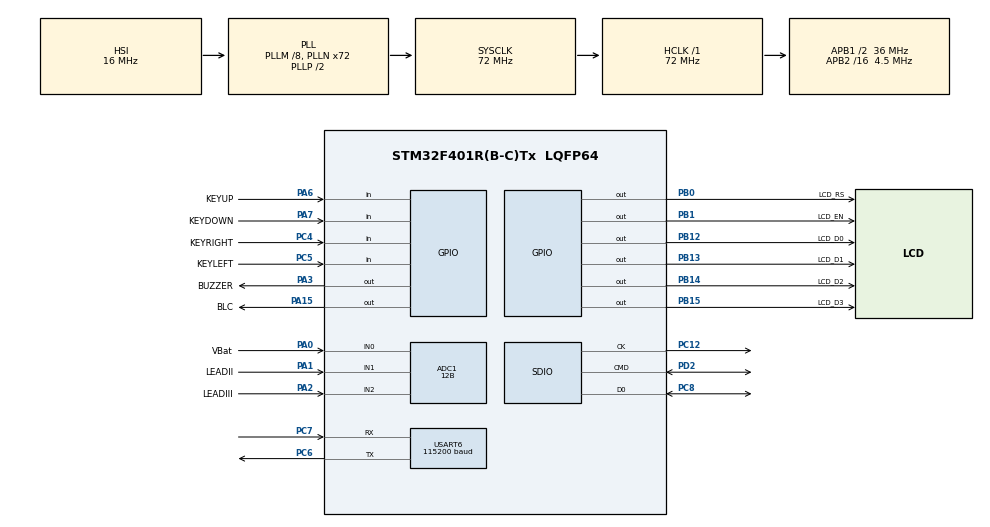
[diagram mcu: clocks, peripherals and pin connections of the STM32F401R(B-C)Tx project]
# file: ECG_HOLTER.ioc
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ADC1.Channel-0\#ChannelRegularConversion=ADC_CHANNEL_1
ADC1.Channel-4\#ChannelInjectedConversion=ADC_CHANNEL_0
ADC1.ClockPrescaler=ADC_CLOCK_SYNC_PCLK_DIV6
ADC1.ContinuousConvMode=ENABLE
ADC1.DMAContinuousRequests=ENABLE
ADC1.DataAlign=ADC_DATAALIGN_RIGHT
ADC1.DiscontinuousConvMode=DISABLE
ADC1.EOCSelection=ADC_EOC_SINGLE_CONV
ADC1.EnableAnalogWatchDog=false
ADC1.ExternalTrigConv=ADC_SOFTWARE_START
ADC1.ExternalTrigConvEdge=ADC_EXTERNALTRIGCONVEDGE_NONE
ADC1.ExternalTrigInjecConv=ADC_INJECTED_SOFTWARE_START
ADC1.ExternalTrigInjecConvEdge=ADC_EXTERNALTRIGINJECCONVEDGE_NONE
ADC1.InjNumberOfConversion=1
ADC1.InjectedConvMode=None
ADC1.InjectedOffset-4\#ChannelInjectedConversion=0
ADC1.NbrOfConversion=1
ADC1.NbrOfConversionFlag=1
ADC1.Rank-0\#ChannelRegularConversion=1
ADC1.Rank-4\#ChannelInjectedConversion=1
ADC1.Resolution=ADC_RESOLUTION_12B
ADC1.SamplingTime-0\#ChannelRegularConversion=ADC_SAMPLETIME_480CYCLES
ADC1.SamplingTime-4\#ChannelInjectedConversion=ADC_SAMPLETIME_3CYCLES
ADC1.ScanConvMode=ENABLE
ADC1.master=1
Dma.ADC1.0.Direction=DMA_PERIPH_TO_MEMORY
Dma.ADC1.0.FIFOMode=DMA_FIFOMODE_DISABLE
Dma.ADC1.0.Instance=DMA2_Stream0
Dma.ADC1.0.MemDataAlignment=DMA_MDATAALIGN_HALFWORD
Dma.ADC1.0.MemInc=DMA_MINC_ENABLE
Dma.ADC1.0.Mode=DMA_CIRCULAR
Dma.ADC1.0.PeriphDataAlignment=DMA_PDATAALIGN_HALFWORD
Dma.ADC1.0.PeriphInc=DMA_PINC_DISABLE
Dma.ADC1.0.Priority=DMA_PRIORITY_LOW
Dma.Request0=ADC1
FATFS._MAX_SS=512
FATFS._MIN_SS=512
FREERTOS.Queues01=BLK_EN_Q,3,uint16_t,NULL,Dynamic,NULL,NULL;KeysCommand,3,uint8_t,NULL,Dynamic,NULL,NULL;LCDCommand,3,lcdstate_E,NULL,Dynamic,NULL,NULL
FREERTOS.Tasks01=SYSS_handler,0,128,SYSS_MainTask,Default,NULL,Dynamic,NULL,NULL;DisplayLCD,-3,128,StartDispalyLCD,Default,NULL,Dynamic,NULL,NULL;MonitorKeys,0,128,StartMonitorKeys,Default,NULL,Dynamic,NULL,NULL;WriteSD,2,128,StartWriteSD,Default,NULL,Dynamic,NULL,NULL;BLK_EN_Task,-3,128,Start_BLKEN,Default,NULL,Dynamic,NULL,NULL;VBat_Monitor,-3,128,Read_Vbat,Default,NULL,Dynamic,NULL,NULL
Mcu.Family=STM32F4
Mcu.Name=STM32F401R(B-C)Tx
Mcu.Package=LQFP64
NVIC.DMA2_Stream0_IRQn=true\:5\:0\:false\:false\:true\:true\:false
NVIC.PriorityGroup=NVIC_PRIORITYGROUP_4
NVIC.RTC_Alarm_IRQn=true\:5\:0\:false\:false\:true\:true\:true
NVIC.TIM1_UP_TIM10_IRQn=true\:0\:0\:false\:false\:true\:false\:false
NVIC.TimeBase=TIM1_UP_TIM10_IRQn
NVIC.TimeBaseIP=TIM1
PA0-WKUP.GPIO_Label=VBat
PA0-WKUP.Signal=ADCx_IN0
PA1.GPIO_Label=LEADII
PA1.Signal=ADCx_IN1
PA15.GPIO_Label=BLC
PA15.Signal=GPIO_Output
PA2.GPIO_Label=LEADIII
PA2.Signal=ADCx_IN2
PA3.GPIO_Label=BUZZER
PA3.Signal=GPIO_Output
PA6.GPIO_Label=KEYUP
PA6.GPIO_PuPd=GPIO_PULLUP
PA6.Signal=GPIO_Input
PA7.GPIO_Label=KEYDOWN
PA7.GPIO_PuPd=GPIO_PULLUP
PA7.Signal=GPIO_Input
PB0.GPIO_Label=LCD_RS
PB0.Signal=GPIO_Output
PB1.GPIO_Label=LCD_EN
PB1.Signal=GPIO_Output
PB12.GPIO_Label=LCD_D0
PB12.Signal=GPIO_Output
PB13.GPIO_Label=LCD_D1
PB13.Signal=GPIO_Output
PB14.GPIO_Label=LCD_D2
PB14.Signal=GPIO_Output
PB15.GPIO_Label=LCD_D3
PB15.Signal=GPIO_Output
PC12.Mode=SD_1_bit
PC12.Signal=SDIO_CK
PC4.GPIO_Label=KEYRIGHT
PC4.GPIO_PuPd=GPIO_PULLUP
PC4.Signal=GPIO_Input
PC5.GPIO_Label=KEYLEFT
PC5.GPIO_PuPd=GPIO_PULLUP
PC5.Signal=GPIO_Input
PC6.Mode=Asynchronous
PC6.Signal=USART6_TX
PC7.Mode=Asynchronous
PC7.Signal=USART6_RX
PC8.Mode=SD_1_bit
PC8.Signal=SDIO_D0
PD2.Mode=SD_1_bit
PD2.Signal=SDIO_CMD
ProjectManager.HeapSize=0x3000
ProjectManager.StackSize=0x5000
ProjectManager.TargetToolchain=SW4STM32
RCC.48MHZClocksFreq_Value=48000000
RCC.AHBFreq_Value=72000000
RCC.APB1CLKDivider=RCC_HCLK_DIV2
RCC.APB1Freq_Value=36000000
RCC.APB1TimFreq_Value=72000000
RCC.APB2CLKDivider=RCC_HCLK_DIV16
RCC.APB2Freq_Value=4500000
RCC.APB2TimFreq_Value=9000000
RCC.CortexFreq_Value=72000000
RCC.HCLKFreq_Value=72000000
RCC.HSE_VALUE=8000000
RCC.HSI_VALUE=16000000
RCC.LSE_VALUE=32768
RCC.PLLM=8
RCC.PLLN=72
RCC.PLLQ=3
RCC.SYSCLKFreq_VALUE=72000000
RCC.SYSCLKSource=RCC_SYSCLKSOURCE_PLLCLK
RCC.VCOOutputFreq_Value=144000000
RTC.Alarm=RTC_ALARM_A
RTC.Date=1
RTC.Format=RTC_FORMAT_BIN
RTC.HourFormat=RTC_HOURFORMAT_24
RTC.Hours=0
RTC.Minutes=0
RTC.Seconds=0
RTC.Seconds_A=1
RTC.StoreOperation=RTC_STOREOPERATION_SET
RTC.SynchPrediv=251
RTC.Year=18
SDIO.ClockDiv=0
SH.ADCx_IN0.0=ADC1_IN0,IN0
SH.ADCx_IN1.0=ADC1_IN1,IN1
SH.ADCx_IN2.0=ADC1_IN2,IN2
USART6.BaudRate=115200
USART6.VirtualMode=VM_ASYNC
VP_FATFS_VS_SDIO.Mode=SDIO
VP_FREERTOS_VS_ENABLE.Mode=Enabled
VP_RTC_VS_RTC_Activate.Mode=RTC_Enabled
VP_RTC_VS_RTC_Alarm_A_Intern.Mode=Alarm A
VP_RTC_VS_RTC_Calendar.Mode=RTC_Calendar
VP_SYS_VS_tim1.Mode=TIM1
board=ECG_HOLTER

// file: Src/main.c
/**
  ******************************************************************************
  * File Name          : main.c
  * Description        : Main program body
  ******************************************************************************
  * This notice applies to any and all portions of this file
  * that are not between comment pairs USER CODE BEGIN and
  * USER CODE END. Other portions of this file, whether
  * inserted by the user or by software development tools
  * are owned by their respective copyright owners.
  *
  * Copyright (c) 2018 STMicroelectronics International N.V.
  * All rights reserved.
  *
  * Redistribution and use in source and binary forms, with or without
  * modification, are permitted, provided that the following conditions are met:
  *
  * 1. Redistribution of source code must retain the above copyright notice,
  *    this list of conditions and the following disclaimer.
  * 2. Redistributions in binary form must reproduce the above copyright notice,
  *    this list of conditions and the following disclaimer in the documentation
  *    and/or other materials provided with the distribution.
  * 3. Neither the name of STMicroelectronics nor the names of other
  *    contributors to this software may be used to endorse or promote products
  *    derived from this software without specific written permission.
  * 4. This software, including modifications and/or derivative works of this
  *    software, must execute solely and exclusively on microcontroller or
  *    microprocessor devices manufactured by or for STMicroelectronics.
  * 5. Redistribution and use of this software other than as permitted under
  *    this license is void and will automatically terminate your rights under
  *    this license.
  *
  * THIS SOFTWARE IS PROVIDED BY STMICROELECTRONICS AND CONTRIBUTORS "AS IS"
  * AND ANY EXPRESS, IMPLIED OR STATUTORY WARRANTIES, INCLUDING, BUT NOT
  * LIMITED TO, THE IMPLIED WARRANTIES OF MERCHANTABILITY, FITNESS FOR A
  * PARTICULAR PURPOSE AND NON-INFRINGEMENT OF THIRD PARTY INTELLECTUAL PROPERTY
  * RIGHTS ARE DISCLAIMED TO THE FULLEST EXTENT PERMITTED BY LAW. IN NO EVENT
  * SHALL STMICROELECTRONICS OR CONTRIBUTORS BE LIABLE FOR ANY DIRECT, INDIRECT,
  * INCIDENTAL, SPECIAL, EXEMPLARY, OR CONSEQUENTIAL DAMAGES (INCLUDING, BUT NOT
  * LIMITED TO, PROCUREMENT OF SUBSTITUTE GOODS OR SERVICES; LOSS OF USE, DATA,
  * OR PROFITS; OR BUSINESS INTERRUPTION) HOWEVER CAUSED AND ON ANY THEORY OF
  * LIABILITY, WHETHER IN CONTRACT, STRICT LIABILITY, OR TORT (INCLUDING
  * NEGLIGENCE OR OTHERWISE) ARISING IN ANY WAY OUT OF THE USE OF THIS SOFTWARE,
  * EVEN IF ADVISED OF THE POSSIBILITY OF SUCH DAMAGE.
  *
  ******************************************************************************
  */
#include "main.h"
#include "stm32f4xx_hal.h"
#include "cmsis_os.h"
#include "fatfs.h"

/* USER CODE BEGIN Includes */

/* USER CODE BEGIN Includes */
#include "stm32_topway_16x2.h"
#include "RTC_user_init.h"
#include "string.h"

#define AQUIRED			((uint8_t)1)
#define SAVED			((uint8_t)2)
#define PAUSED			((uint8_t)3)

#define ADC_DATA_LGTH   (300)

#define KEY_UP_MSK		((uint8_t) 0x01)
#define KEY_DOWN_MSK	((uint8_t) 0x02)
#define KEY_OK_MSK		((uint8_t) 0x04)
#define KEY_C_MSK		((uint8_t) 0x08)
#define NO_KEY_MSK		((uint8_t) 0x00)
/* USER CODE END Includes */

ADC_HandleTypeDef hadc1;
DMA_HandleTypeDef hdma_adc1;

RTC_HandleTypeDef hrtc;

SD_HandleTypeDef hsd;

UART_HandleTypeDef huart6;

osThreadId SYSS_handlerHandle;
osThreadId DisplayLCDHandle;
osThreadId MonitorKeysHandle;
osThreadId WriteSDHandle;
osThreadId BLK_EN_TaskHandle;
osThreadId VBat_MonitorHandle;
osMessageQId BLK_EN_QHandle;
osMessageQId KeysCommandHandle;
osMessageQId LCDCommandHandle;

/* USER CODE BEGIN PV */
/* Type definitions ---------------------------------------------------------*/

typedef struct{
	uint16_t ADC_Data[ADC_DATA_LGTH];
	uint8_t Status;
}EKGData_S;

typedef enum{
	lcdstate_printtime,
	lcdstate_printmenu,

}lcdstate_E;

typedef enum{
	Recording,
	N_Recording
}RecStateDisplay_E;

typedef enum{
	SubRecTime,
	SubRecord
}MainMenuState_E;

typedef enum{
	StartRecording,
	StopRecording
}RecordingState_E;

/* Private variables ---------------------------------------------------------*/
static volatile uint16_t dma_buffer[ADC_DATA_LGTH];
EKGData_S EKGData;
static volatile uint16_t Vbat_value;
static uint8_t lcd_firstline[16] = "                ";
static uint8_t lcd_secondline[16] = "                ";
static RecStateDisplay_E RecStateDisplay = N_Recording;
static MainMenuState_E mainmenustate = SubRecord;
static MainMenuState_E premainmenustate = SubRecord;
static RecordingState_E recordingstate = StartRecording;
static uint8_t hrs,min;
static uint8_t keycmd;

/* USER CODE END PV */

void SystemClock_Config(void);
static void MX_GPIO_Init(void);
static void MX_DMA_Init(void);
static void MX_ADC1_Init(void);
static void MX_SDIO_SD_Init(void);
static void MX_USART6_UART_Init(void);
static void MX_RTC_Init(void);
void SYSS_MainTask(void const * argument);
void StartDispalyLCD(void const * argument);
void StartMonitorKeys(void const * argument);
void StartWriteSD(void const * argument);
void Start_BLKEN(void const * argument);
void Read_Vbat(void const * argument);

/* USER CODE BEGIN PFP */
/* Private function prototypes -----------------------------------------------*/
static void MX_LCD_Init(void);
/* USER CODE END PFP */

/* USER CODE BEGIN 0 */
FATFS fileSystem;
FIL EKGFile;
uint8_t path[] = "EKG.txt\0";
UINT testBytes;
FRESULT res = FR_NO_FILESYSTEM;
void HAL_ADC_ConvCpltCallback(ADC_HandleTypeDef* hadc)
{
	uint16_t indx = 0;
	if(SAVED == EKGData.Status)
	{
		for(indx = 0; indx < ADC_DATA_LGTH; indx++)
		{
			EKGData.ADC_Data[indx] = dma_buffer[indx];
		}
		EKGData.Status = AQUIRED;
/*		HAL_ADC_Stop(&hadc1);
		HAL_ADC_Stop_DMA(&hadc1);*/
	}
	else if(AQUIRED  == EKGData.Status)
	{
		LCD1602_print(" SYSTEM FAILURE ");
		_Error_Handler(__FILE__, __LINE__);
	}
	else
	{
		/*do nothing*/
	}
}

static void MX_LCD_Init(void)
{
    LCD1602_Begin4BIT(LCD_RS_GPIO_Port, LCD_RS_Pin, LCD_EN_Pin,
                        LCD_D0_GPIO_Port, LCD_D0_Pin, LCD_D1_Pin, LCD_D2_Pin, LCD_D3_Pin);
    LCD1602_noCursor();
    LCD1602_noBlink();
    LCD1602_clear();
}

void HAL_RTC_AlarmAEventCallback(RTC_HandleTypeDef *hrtc)
{
	if(Recording == RecStateDisplay)
	{
/*	RecStateDisplay = N_Recording;
	lcdstate_E lcdState = lcdstate_printtime;
	xQueueSend(LCDCommandHandle, (void *)&lcdState, ( TickType_t ) 0);*/
		RecStateDisplay = N_Recording;
		HAL_ADC_Stop(&hadc1);
		HAL_ADC_Stop_DMA(&hadc1);
//		f_close(&EKGFile);
	}

}

/* USER CODE END 0 */

int main(void)
{

  /* MCU Configuration----------------------------------------------------------*/

  /* Reset of all peripherals, Initializes the Flash interface and the Systick. */
  HAL_Init();

  /* Configure the system clock */
  SystemClock_Config();

  /* Initialize all configured peripherals */
  MX_GPIO_Init();
  MX_DMA_Init();
  MX_ADC1_Init();
  MX_SDIO_SD_Init();
  MX_USART6_UART_Init();
  MX_RTC_Init();

  /* USER CODE BEGIN 2 */
  MX_FATFS_Init();
  memset(&(EKGData.ADC_Data), ((uint8_t)0), sizeof(EKGData.ADC_Data));
  MX_LCD_Init();
  LCD1602_clear();
  while(FR_OK != res)
  {
	  if(f_mount(&fileSystem,SDPath, 1) == FR_OK)
	  {
		res = f_open(&EKGFile, (char*)path, FA_CREATE_ALWAYS | FA_WRITE );
	  }
	  else
	  {
		LCD1602_1stLine();
		LCD1602_print("Unable 2 MountSD");
		LCD1602_2ndLine();
		LCD1602_print("Press OK 2 retry");
		while(GPIO_PIN_RESET != HAL_GPIO_ReadPin(KEYRIGHT_GPIO_Port, KEYRIGHT_Pin));
		NVIC_SystemReset();
	  }
  }
  SetSystemTime();
  EKGData.Status = SAVED;

  /* USER CODE END 2 */

  /* Create the thread(s) */
  /* definition and creation of SYSS_handler */
  osThreadDef(SYSS_handler, SYSS_MainTask, osPriorityNormal, 0, 128);
  SYSS_handlerHandle = osThreadCreate(osThread(SYSS_handler), NULL);

  /* definition and creation of DisplayLCD */
  osThreadDef(DisplayLCD, StartDispalyLCD, osPriorityIdle, 0, 128);
  DisplayLCDHandle = osThreadCreate(osThread(DisplayLCD), NULL);

  /* definition and creation of MonitorKeys */
  osThreadDef(MonitorKeys, StartMonitorKeys, osPriorityNormal, 0, 128);
  MonitorKeysHandle = osThreadCreate(osThread(MonitorKeys), NULL);

  /* definition and creation of WriteSD */
  osThreadDef(WriteSD, StartWriteSD, osPriorityHigh, 0, 128);
  WriteSDHandle = osThreadCreate(osThread(WriteSD), NULL);

  /* definition and creation of BLK_EN_Task */
  osThreadDef(BLK_EN_Task, Start_BLKEN, osPriorityIdle, 0, 128);
  BLK_EN_TaskHandle = osThreadCreate(osThread(BLK_EN_Task), NULL);

  /* definition and creation of VBat_Monitor */
  osThreadDef(VBat_Monitor, Read_Vbat, osPriorityIdle, 0, 128);
  VBat_MonitorHandle = osThreadCreate(osThread(VBat_Monitor), NULL);

  /* Create the queue(s) */
  /* definition and creation of BLK_EN_Q */
  osMessageQDef(BLK_EN_Q, 3, uint16_t);
  BLK_EN_QHandle = osMessageCreate(osMessageQ(BLK_EN_Q), NULL);

  /* definition and creation of KeysCommand */
  osMessageQDef(KeysCommand, 3, uint8_t);
  KeysCommandHandle = osMessageCreate(osMessageQ(KeysCommand), NULL);

  /* definition and creation of LCDCommand */
  osMessageQDef(LCDCommand, 3, lcdstate_E);
  LCDCommandHandle = osMessageCreate(osMessageQ(LCDCommand), NULL);

  /* Start scheduler */
  osKernelStart();

  /* We should never get here as control is now taken by the scheduler */

  /* Infinite loop */
  while (1)
  {

  }

}

/** System Clock Configuration
*/
void SystemClock_Config(void)
{

  RCC_OscInitTypeDef RCC_OscInitStruct;
  RCC_ClkInitTypeDef RCC_ClkInitStruct;
  RCC_PeriphCLKInitTypeDef PeriphClkInitStruct;

    /**Configure the main internal regulator output voltage
    */
  __HAL_RCC_PWR_CLK_ENABLE();

  __HAL_PWR_VOLTAGESCALING_CONFIG(PWR_REGULATOR_VOLTAGE_SCALE2);

    /**Initializes the CPU, AHB and APB busses clocks
    */
  RCC_OscInitStruct.OscillatorType = RCC_OSCILLATORTYPE_HSI|RCC_OSCILLATORTYPE_LSI;
  RCC_OscInitStruct.HSIState = RCC_HSI_ON;
  RCC_OscInitStruct.HSICalibrationValue = 16;
  RCC_OscInitStruct.LSIState = RCC_LSI_ON;
  RCC_OscInitStruct.PLL.PLLState = RCC_PLL_ON;
  RCC_OscInitStruct.PLL.PLLSource = RCC_PLLSOURCE_HSI;
  RCC_OscInitStruct.PLL.PLLM = 8;
  RCC_OscInitStruct.PLL.PLLN = 72;
  RCC_OscInitStruct.PLL.PLLP = RCC_PLLP_DIV2;
  RCC_OscInitStruct.PLL.PLLQ = 3;
  if (HAL_RCC_OscConfig(&RCC_OscInitStruct) != HAL_OK)
  {
    _Error_Handler(__FILE__, __LINE__);
  }

    /**Initializes the CPU, AHB and APB busses clocks
    */
  RCC_ClkInitStruct.ClockType = RCC_CLOCKTYPE_HCLK|RCC_CLOCKTYPE_SYSCLK
                              |RCC_CLOCKTYPE_PCLK1|RCC_CLOCKTYPE_PCLK2;
  RCC_ClkInitStruct.SYSCLKSource = RCC_SYSCLKSOURCE_PLLCLK;
  RCC_ClkInitStruct.AHBCLKDivider = RCC_SYSCLK_DIV1;
  RCC_ClkInitStruct.APB1CLKDivider = RCC_HCLK_DIV2;
  RCC_ClkInitStruct.APB2CLKDivider = RCC_HCLK_DIV16;

  if (HAL_RCC_ClockConfig(&RCC_ClkInitStruct, FLASH_LATENCY_2) != HAL_OK)
  {
    _Error_Handler(__FILE__, __LINE__);
  }

  PeriphClkInitStruct.PeriphClockSelection = RCC_PERIPHCLK_RTC;
  PeriphClkInitStruct.RTCClockSelection = RCC_RTCCLKSOURCE_LSI;
  if (HAL_RCCEx_PeriphCLKConfig(&PeriphClkInitStruct) != HAL_OK)
  {
    _Error_Handler(__FILE__, __LINE__);
  }

    /**Configure the Systick interrupt time
    */
  HAL_SYSTICK_Config(HAL_RCC_GetHCLKFreq()/1000);

    /**Configure the Systick
    */
  HAL_SYSTICK_CLKSourceConfig(SYSTICK_CLKSOURCE_HCLK);

  /* SysTick_IRQn interrupt configuration */
  HAL_NVIC_SetPriority(SysTick_IRQn, 15, 0);
}

/* ADC1 init function */
static void MX_ADC1_Init(void)
{

  ADC_ChannelConfTypeDef sConfig;
  ADC_InjectionConfTypeDef sConfigInjected;

    /**Configure the global features of the ADC (Clock, Resolution, Data Alignment and number of conversion)
    */
  hadc1.Instance = ADC1;
  hadc1.Init.ClockPrescaler = ADC_CLOCK_SYNC_PCLK_DIV6;
  hadc1.Init.Resolution = ADC_RESOLUTION_12B;
  hadc1.Init.ScanConvMode = ENABLE;
  hadc1.Init.ContinuousConvMode = ENABLE;
  hadc1.Init.DiscontinuousConvMode = DISABLE;
  hadc1.Init.ExternalTrigConvEdge = ADC_EXTERNALTRIGCONVEDGE_NONE;
  hadc1.Init.ExternalTrigConv = ADC_SOFTWARE_START;
  hadc1.Init.DataAlign = ADC_DATAALIGN_RIGHT;
  hadc1.Init.NbrOfConversion = 1;
  hadc1.Init.DMAContinuousRequests = ENABLE;
  hadc1.Init.EOCSelection = ADC_EOC_SINGLE_CONV;
  if (HAL_ADC_Init(&hadc1) != HAL_OK)
  {
    _Error_Handler(__FILE__, __LINE__);
  }

    /**Configure for the selected ADC regular channel its corresponding rank in the sequencer and its sample time.
    */
  sConfig.Channel = ADC_CHANNEL_1;
  sConfig.Rank = 1;
  sConfig.SamplingTime = ADC_SAMPLETIME_480CYCLES;
  if (HAL_ADC_ConfigChannel(&hadc1, &sConfig) != HAL_OK)
  {
    _Error_Handler(__FILE__, __LINE__);
  }

    /**Configures for the selected ADC injected channel its corresponding rank in the sequencer and its sample time
    */
  sConfigInjected.InjectedChannel = ADC_CHANNEL_0;
  sConfigInjected.InjectedRank = 1;
  sConfigInjected.InjectedNbrOfConversion = 1;
  sConfigInjected.InjectedSamplingTime = ADC_SAMPLETIME_3CYCLES;
  sConfigInjected.ExternalTrigInjecConvEdge = ADC_EXTERNALTRIGINJECCONVEDGE_NONE;
  sConfigInjected.ExternalTrigInjecConv = ADC_INJECTED_SOFTWARE_START;
  sConfigInjected.AutoInjectedConv = DISABLE;
  sConfigInjected.InjectedDiscontinuousConvMode = DISABLE;
  sConfigInjected.InjectedOffset = 0;
  if (HAL_ADCEx_InjectedConfigChannel(&hadc1, &sConfigInjected) != HAL_OK)
  {
    _Error_Handler(__FILE__, __LINE__);
  }

}

/* RTC init function */
static void MX_RTC_Init(void)
{

  RTC_TimeTypeDef sTime;
  RTC_DateTypeDef sDate;
  RTC_AlarmTypeDef sAlarm;

    /**Initialize RTC Only
    */
  hrtc.Instance = RTC;
  hrtc.Init.HourFormat = RTC_HOURFORMAT_24;
  hrtc.Init.AsynchPrediv = 127;
  hrtc.Init.SynchPrediv = 251;
  hrtc.Init.OutPut = RTC_OUTPUT_DISABLE;
  hrtc.Init.OutPutPolarity = RTC_OUTPUT_POLARITY_HIGH;
  hrtc.Init.OutPutType = RTC_OUTPUT_TYPE_OPENDRAIN;
  if (HAL_RTC_Init(&hrtc) != HAL_OK)
  {
    _Error_Handler(__FILE__, __LINE__);
  }

    /**Initialize RTC and set the Time and Date
    */
  if(HAL_RTCEx_BKUPRead(&hrtc, RTC_BKP_DR0) != 0x32F2){
  sTime.Hours = 0;
  sTime.Minutes = 0;
  sTime.Seconds = 0;
  sTime.DayLightSaving = RTC_DAYLIGHTSAVING_NONE;
  sTime.StoreOperation = RTC_STOREOPERATION_SET;
  if (HAL_RTC_SetTime(&hrtc, &sTime, RTC_FORMAT_BIN) != HAL_OK)
  {
    _Error_Handler(__FILE__, __LINE__);
  }

  sDate.WeekDay = RTC_WEEKDAY_MONDAY;
  sDate.Month = RTC_MONTH_JANUARY;
  sDate.Date = 1;
  sDate.Year = 18;

  if (HAL_RTC_SetDate(&hrtc, &sDate, RTC_FORMAT_BIN) != HAL_OK)
  {
    _Error_Handler(__FILE__, __LINE__);
  }

    HAL_RTCEx_BKUPWrite(&hrtc,RTC_BKP_DR0,0x32F2);
  }
    /**Enable the Alarm A
    */
  sAlarm.AlarmTime.Hours = 1;
  sAlarm.AlarmTime.Minutes = 0;
  sAlarm.AlarmTime.Seconds = 0;
  sAlarm.AlarmTime.SubSeconds = 0;
  sAlarm.AlarmTime.DayLightSaving = RTC_DAYLIGHTSAVING_NONE;
  sAlarm.AlarmTime.StoreOperation = RTC_STOREOPERATION_SET;
  sAlarm.AlarmMask = RTC_ALARMMASK_NONE;
  sAlarm.AlarmSubSecondMask = RTC_ALARMSUBSECONDMASK_ALL;
  sAlarm.AlarmDateWeekDaySel = RTC_ALARMDATEWEEKDAYSEL_DATE;
  sAlarm.AlarmDateWeekDay = 1;
  sAlarm.Alarm = RTC_ALARM_A;
  if (HAL_RTC_SetAlarm_IT(&hrtc, &sAlarm, RTC_FORMAT_BIN) != HAL_OK)
  {
    _Error_Handler(__FILE__, __LINE__);
  }

}

/* SDIO init function */
static void MX_SDIO_SD_Init(void)
{

  hsd.Instance = SDIO;
  hsd.Init.ClockEdge = SDIO_CLOCK_EDGE_RISING;
  hsd.Init.ClockBypass = SDIO_CLOCK_BYPASS_DISABLE;
  hsd.Init.ClockPowerSave = SDIO_CLOCK_POWER_SAVE_DISABLE;
  hsd.Init.BusWide = SDIO_BUS_WIDE_1B;
  hsd.Init.HardwareFlowControl = SDIO_HARDWARE_FLOW_CONTROL_DISABLE;
  hsd.Init.ClockDiv = 0;

}

/* USART6 init function */
static void MX_USART6_UART_Init(void)
{

  huart6.Instance = USART6;
  huart6.Init.BaudRate = 115200;
  huart6.Init.WordLength = UART_WORDLENGTH_8B;
  huart6.Init.StopBits = UART_STOPBITS_1;
  huart6.Init.Parity = UART_PARITY_NONE;
  huart6.Init.Mode = UART_MODE_TX_RX;
  huart6.Init.HwFlowCtl = UART_HWCONTROL_NONE;
  huart6.Init.OverSampling = UART_OVERSAMPLING_16;
  if (HAL_UART_Init(&huart6) != HAL_OK)
  {
    _Error_Handler(__FILE__, __LINE__);
  }

}

static void MX_DMA_Init(void)
{
  /* DMA controller clock enable */
  __HAL_RCC_DMA2_CLK_ENABLE();

  /* DMA interrupt init */
  /* DMA2_Stream0_IRQn interrupt configuration */
  HAL_NVIC_SetPriority(DMA2_Stream0_IRQn, 5, 0);
  HAL_NVIC_EnableIRQ(DMA2_Stream0_IRQn);

}

/** Configure pins as
        * Analog
        * Input
        * Output
        * EVENT_OUT
        * EXTI
*/
static void MX_GPIO_Init(void)
{

  GPIO_InitTypeDef GPIO_InitStruct;

  /* GPIO Ports Clock Enable */
  __HAL_RCC_GPIOA_CLK_ENABLE();
  __HAL_RCC_GPIOC_CLK_ENABLE();
  __HAL_RCC_GPIOB_CLK_ENABLE();
  __HAL_RCC_GPIOD_CLK_ENABLE();

  /*Configure GPIO pin Output Level */
  HAL_GPIO_WritePin(GPIOA, BUZZER_Pin|BLC_Pin, GPIO_PIN_RESET);

  /*Configure GPIO pin Output Level */
  HAL_GPIO_WritePin(GPIOB, LCD_RS_Pin|LCD_EN_Pin|LCD_D0_Pin|LCD_D1_Pin
                          |LCD_D2_Pin|LCD_D3_Pin, GPIO_PIN_RESET);

  /*Configure GPIO pins : BUZZER_Pin BLC_Pin */
  GPIO_InitStruct.Pin = BUZZER_Pin|BLC_Pin;
  GPIO_InitStruct.Mode = GPIO_MODE_OUTPUT_PP;
  GPIO_InitStruct.Pull = GPIO_NOPULL;
  GPIO_InitStruct.Speed = GPIO_SPEED_FREQ_LOW;
  HAL_GPIO_Init(GPIOA, &GPIO_InitStruct);

  /*Configure GPIO pins : KEYUP_Pin KEYDOWN_Pin */
  GPIO_InitStruct.Pin = KEYUP_Pin|KEYDOWN_Pin;
  GPIO_InitStruct.Mode = GPIO_MODE_INPUT;
  GPIO_InitStruct.Pull = GPIO_PULLUP;
  HAL_GPIO_Init(GPIOA, &GPIO_InitStruct);

  /*Configure GPIO pins : KEYRIGHT_Pin KEYLEFT_Pin */
  GPIO_InitStruct.Pin = KEYRIGHT_Pin|KEYLEFT_Pin;
  GPIO_InitStruct.Mode = GPIO_MODE_INPUT;
  GPIO_InitStruct.Pull = GPIO_PULLUP;
  HAL_GPIO_Init(GPIOC, &GPIO_InitStruct);

  /*Configure GPIO pins : LCD_RS_Pin LCD_EN_Pin LCD_D0_Pin LCD_D1_Pin
                           LCD_D2_Pin LCD_D3_Pin */
  GPIO_InitStruct.Pin = LCD_RS_Pin|LCD_EN_Pin|LCD_D0_Pin|LCD_D1_Pin
                          |LCD_D2_Pin|LCD_D3_Pin;
  GPIO_InitStruct.Mode = GPIO_MODE_OUTPUT_PP;
  GPIO_InitStruct.Pull = GPIO_NOPULL;
  GPIO_InitStruct.Speed = GPIO_SPEED_FREQ_LOW;
  HAL_GPIO_Init(GPIOB, &GPIO_InitStruct);

}

/* SYSS_MainTask function */
void SYSS_MainTask(void const * argument)
{
  /* init code for FATFS */
  MX_FATFS_Init();

  /* USER CODE BEGIN 5 */
  lcdstate_E lcdState = lcdstate_printmenu;
  memcpy(lcd_firstline, "   Operation    ", 16);
  memcpy(lcd_secondline, "<-   Start    ->",16);
  /* Infinite loop */
  for(;;)
  {
	  xQueueReceive( KeysCommandHandle, &keycmd, ( TickType_t ) 0 );
	  if(keycmd == KEY_C_MSK)
	  {
	    lcdState = (lcdState == lcdstate_printtime) ? lcdstate_printmenu : lcdstate_printtime;
	    xQueueSend(LCDCommandHandle, (void *)&lcdState, ( TickType_t ) 0);

	  }
	  else
	  {
	    switch(mainmenustate)
	    {
	    case SubRecord:
	    	if(mainmenustate != premainmenustate)
	    	{
		    	memcpy(lcd_firstline, "   Operation    ",16);
		    	memcpy(lcd_secondline, "<-   Start    ->",16);
	    		premainmenustate = mainmenustate;
	    	}
	    	if (
	    			(KEY_UP_MSK == keycmd)
					||
					(KEY_DOWN_MSK == keycmd)
			   )
	    	{
	    		recordingstate = (recordingstate == StartRecording) ? StopRecording : StartRecording;
		    	if(recordingstate == StartRecording)
		    	{
		    		memcpy(lcd_secondline, "<-   Start    ->",16);
		    	}
		    	else if(recordingstate == StopRecording)
		    	{
		    		memcpy(lcd_secondline, "<-    Stop    ->",16);
		    	}
		    	else
		    	{
		    		/*do nothing*/
		    	}
	    	}
	    	else if(KEY_OK_MSK == keycmd)
	    	{
		    	if(recordingstate == StartRecording)
		    	{
		    		mainmenustate = SubRecTime;
		    	}
		    	else if(recordingstate == StopRecording)
		    	{
		    		lcdState = lcdstate_printtime;
		    		xQueueSend(LCDCommandHandle, (void *)&lcdState, ( TickType_t ) 0);
		    		RecStateDisplay = N_Recording;
		    		HAL_ADC_Stop(&hadc1);
		    	    HAL_ADC_Stop_DMA(&hadc1);
		    	    f_close(&EKGFile);
		    	}
		    	else
		    	{
		    		/*do nothing*/
		    	}
	    	}
	    	else
	    	{
	    		/*do nothing*/
	    	}
	    	break;
	    case SubRecTime:
	    	if(mainmenustate != premainmenustate)
	    	{
		    	memcpy(lcd_firstline, "  Set duration  ",16);
		    	memcpy(lcd_secondline, "                ",16);
	    		premainmenustate = mainmenustate;
	    	}
	    	if (KEY_UP_MSK == keycmd)
	    	{
	    		min ++;
	    		if(min == 60)
	    		{
	    			min = 0;
	    			hrs ++;
	    			if(hrs == 24)
	    			{
	    				hrs = 0;
	    			}
	    			else
	    			{
	    				/*do nothing*/
	    			}
	    		}
	    		else
	    		{
	    			/*do nothing*/
	    		}
	    	}
	    	else if(KEY_DOWN_MSK == keycmd)
	    	{
	    		if(min == 0)
	    		{
	    			min = 59;
	    			if(hrs == 0)
	    			{
	    				hrs = 23;
	    			}
	    			else
	    			{
	    				hrs --;
	    			}
	    		}
	    		else
	    		{
	    			min --;
	    		}
	    	}
	    	else if(KEY_OK_MSK == keycmd)
	    	{
	    		mainmenustate = SubRecord;
	    		InitializeAlarm(hrs, min);
	    		RecStateDisplay = Recording;
	    		HAL_ADC_Start(&hadc1);
	    		HAL_ADC_Start_DMA(&hadc1, (uint32_t*)dma_buffer, ADC_DATA_LGTH);
	    		lcdState = lcdstate_printtime;
	    		xQueueSend(LCDCommandHandle, (void *)&lcdState, ( TickType_t ) 0);
	    	}
	    	else
	    	{
	    		/*do nothing*/
	    	}
	    	sprintf(lcd_secondline,"<- %.2d:%.2d:00  ->", hrs, min  );
	    	lcd_secondline[15] = ' ';
	    	break;
	    default:
	  	  break;
	    }
	  }
	  keycmd = NO_KEY_MSK;
	  osDelay(50);
  }
  /* USER CODE END 5 */
}

/* StartDispalyLCD function */
void StartDispalyLCD(void const * argument)
{
  /* USER CODE BEGIN StartDispalyLCD */
	RTC_TimeTypeDef sTime;
	RTC_DateTypeDef sDate;
	lcdstate_E lcdState = lcdstate_printmenu;
  /* Infinite loop */
  for(;;)
  {
	  if(xQueueReceive( LCDCommandHandle, &lcdState, ( TickType_t ) 0 ))
	  {
		  LCD1602_clear();
	  }
	  else
	  {
		 /* do nothing*/
	  }
	  switch(lcdState)
	  {
	  case lcdstate_printtime:
		  if(RecStateDisplay == Recording)
		  {
			  LCD1602_setCursor(1,4);
			  LCD1602_print("Recording  ");
		  }
		  else if(RecStateDisplay == N_Recording)
		  {
			  LCD1602_setCursor(1,4);
			  LCD1602_print("StandBy   ");
		  }
		  else
		  {
			 /* do nothing*/
		  }
		  HAL_RTC_GetTime(&hrtc,&sTime,RTC_FORMAT_BIN);
		  LCD1602_setCursor(2,5);
		  LCD1602_PrintInt((int)(sTime.Hours), (uint8_t)2);
		  LCD1602_print(":");
		  LCD1602_PrintInt((int)(sTime.Minutes), (uint8_t)2);
		  LCD1602_print(":");
		  LCD1602_PrintInt((int)(sTime.Seconds), (uint8_t)2);
		  HAL_RTC_GetDate(&hrtc, &sDate, RTC_FORMAT_BIN);
		  break;
	  case lcdstate_printmenu:
	  	  LCD1602_1stLine();
	  	  LCD1602_print((char *)lcd_firstline);
	  	  LCD1602_2ndLine();
	  	  LCD1602_print((char *)lcd_secondline);
	  default:
		  break;
	  }

    osDelay(200);
  }
  /* USER CODE END StartDispalyLCD */
}

/* StartMonitorKeys function */
void StartMonitorKeys(void const * argument)
{
  /* USER CODE BEGIN StartMonitorKeys */
	uint16_t tenSecDelay = 10000;
	uint8_t keysState = NO_KEY_MSK;
  /* Infinite loop */
  for(;;)
  {
		if(GPIO_PIN_RESET == HAL_GPIO_ReadPin(KEYUP_GPIO_Port, KEYUP_Pin)){
			keysState |=KEY_UP_MSK;
		}
		else if (GPIO_PIN_SET == HAL_GPIO_ReadPin(KEYUP_GPIO_Port, KEYUP_Pin)){
			keysState &= (~KEY_UP_MSK);
		}
		else{
			/*do nothing*/
		}

		if(GPIO_PIN_RESET == HAL_GPIO_ReadPin(KEYDOWN_GPIO_Port, KEYDOWN_Pin)){
			keysState |=KEY_DOWN_MSK;
		}
		else if (GPIO_PIN_SET == HAL_GPIO_ReadPin(KEYDOWN_GPIO_Port, KEYDOWN_Pin)){
			keysState &= (~KEY_DOWN_MSK);
		}
		else{
			/*do nothing*/
		}

		if(GPIO_PIN_RESET == HAL_GPIO_ReadPin(KEYRIGHT_GPIO_Port, KEYRIGHT_Pin)){
			keysState |=KEY_OK_MSK;
		}
		else if (GPIO_PIN_SET == HAL_GPIO_ReadPin(KEYRIGHT_GPIO_Port, KEYRIGHT_Pin)){
			keysState &= (~KEY_OK_MSK);
		}
		else{
			/*do nothing*/
		}

		if(GPIO_PIN_RESET == HAL_GPIO_ReadPin(KEYLEFT_GPIO_Port, KEYLEFT_Pin)){
			keysState |=KEY_C_MSK;
		}
		else if (GPIO_PIN_SET == HAL_GPIO_ReadPin(KEYLEFT_GPIO_Port, KEYLEFT_Pin)){
			keysState &= (~KEY_C_MSK);
		}
		else{
			/*do nothing*/
		}

		if(NO_KEY_MSK != keysState)
		{
			xQueueReset(BLK_EN_QHandle);
			xQueueSend(BLK_EN_QHandle, (void *)&tenSecDelay, ( TickType_t ) 0);
			xQueueSend(KeysCommandHandle, (void *)&keysState, ( TickType_t ) 0);
		}
		else
		{
			/*do nothing*/
		}

    osDelay(200);
  }
  /* USER CODE END StartMonitorKeys */
}

/* StartWriteSD function */
void StartWriteSD(void const * argument)
{
  /* USER CODE BEGIN StartWriteSD */
	RTC_TimeTypeDef sTime;
	uint16_t i;
	char msg1[30];
	int length;

	HAL_RTC_GetTime(&hrtc,&sTime,RTC_FORMAT_BIN);
	length = sprintf(msg1, "EKG Holter Data \n");
	f_write(&EKGFile, (void *)msg1, length, &testBytes);
	length = sprintf(msg1, "Recording Started at : ");
	f_write(&EKGFile, (void *)msg1, length, &testBytes);
	length = sprintf(msg1,"%.2d:", (sTime.Hours));
	f_write(&EKGFile, (void *)msg1, length, &testBytes);
	length = sprintf(msg1,"%.2d:", (sTime.Minutes));
	f_write(&EKGFile, (void *)msg1, length, &testBytes);
	length = sprintf(msg1,"%.2d\n", (sTime.Seconds));
	f_write(&EKGFile, (void *)msg1, length, &testBytes);

  /* Infinite loop */
  for(;;)
  {
	  if( AQUIRED == EKGData.Status)
	  {
	  	for(i= 0; i < ADC_DATA_LGTH; i++)
	  	{
	  		length = sprintf(msg1,"%.4d\n",EKGData.ADC_Data[i]);
	  		res = f_write(&EKGFile, (void *)msg1, length, &testBytes);
	  	}
  		f_sync(&EKGFile);
  		EKGData.Status = SAVED;
	  }
	else
	{
		/*do nothing*/
	}
	osDelay(1);
  }

  /* USER CODE END StartWriteSD */
}

/* Start_BLKEN function */
void Start_BLKEN(void const * argument)
{
  /* USER CODE BEGIN Start_BLKEN */
	uint16_t blkTimeOn;
  /* Infinite loop */
  for(;;)
  {
	  HAL_GPIO_WritePin(GPIOA, BLC_Pin, GPIO_PIN_RESET);
	  while(!xQueueReceive( BLK_EN_QHandle, &blkTimeOn, ( TickType_t ) 0 ));
	  HAL_GPIO_WritePin(GPIOA, BLC_Pin, GPIO_PIN_SET);
	  osDelay((uint32_t)blkTimeOn);
  }
  /* USER CODE END Start_BLKEN */
}

/* Read_Vbat function */
void Read_Vbat(void const * argument)
{
  /* USER CODE BEGIN Read_Vbat */
  /* Infinite loop */
  for(;;)
  {
		HAL_ADCEx_InjectedStart(&hadc1);
		HAL_ADC_PollForConversion(&hadc1, 100);
		Vbat_value = (uint16_t)HAL_ADCEx_InjectedGetValue(&hadc1, ADC_INJECTED_RANK_1);
		HAL_ADCEx_InjectedStop(&hadc1);
    osDelay(500);
  }
  /* USER CODE END Read_Vbat */
}

void HAL_TIM_PeriodElapsedCallback(TIM_HandleTypeDef *htim)
{
  if (htim->Instance == TIM1) {
    HAL_IncTick();
  }
}

void _Error_Handler(char * file, int line)
{
  while(1)
  {
  }
}

/************************ (C) COPYRIGHT STMicroelectronics *****END OF FILE****/
